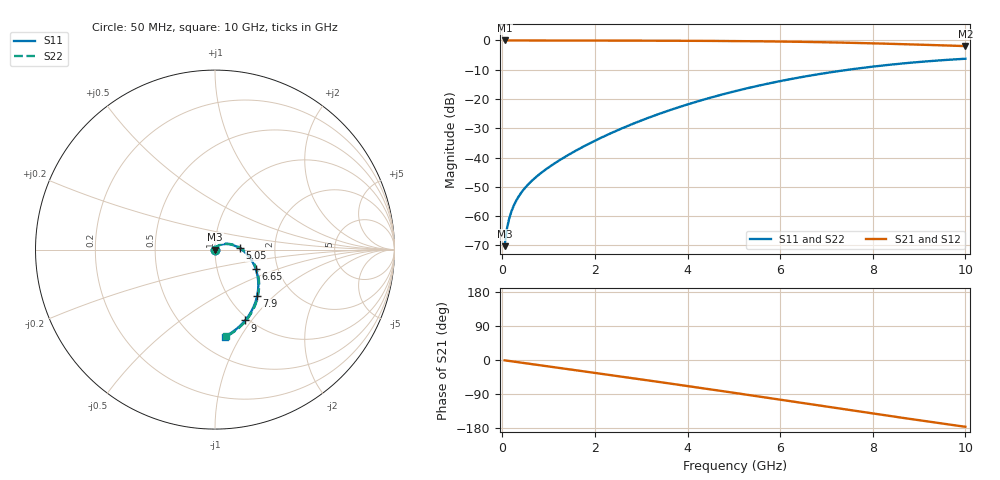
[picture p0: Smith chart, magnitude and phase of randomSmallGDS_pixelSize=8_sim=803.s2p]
! freq	dB(S11)	phase(S11)	dB(S12)	phase(S12)
!  dB(S21)	phase(S21)	dB(S22)	phase(S22)
!S-par simulation data
#  GHz  S  DB  R 50
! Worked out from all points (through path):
!   200 points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, 50 MHz to 10 GHz, reference 50 ohm
!   highest |S21| = 0.00 dB at 50 MHz (marker M1); lowest = -1.9 dB at 10 GHz (marker M2)
!   group delay of S21, straight-line fit = 49.3 ps
!   lowest |S11| = -70.2 dB at 50 MHz (marker M3), VSWR 1.00, Z = 50 + j0.0305 ohm
!   |S11| at or under -10 dB: start of sweep to 7.471 GHz
!   |S22| runs from -70.3 to -6.2 dB; largest |S21 - S12| = 0
!   S11 on the Smith chart (normalised r, x): 50 MHz: 1.00, +0.00; 5.05 GHz: 1.32, +0.02; 6.65 GHz: 1.54, -0.36; 7.9 GHz: 1.34, -0.79; 9 GHz: 0.96, -0.93; 10 GHz: 0.68, -0.86
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0.05  -70.25 82.2  -0.00 -0.9  -0.00 -0.9  -70.25 82.3
0.1  -64.27 84.5  -0.00 -1.7  -0.00 -1.7  -64.27 84.6
0.15  -60.76 84.5  -0.00 -2.6  -0.00 -2.6  -60.76 84.8
0.2  -58.26 84.1  -0.00 -3.4  -0.00 -3.4  -58.26 84.4
0.3  -54.72 82.7  -0.00 -5.1  -0.00 -5.1  -54.72 83.1
0.45  -51.14 80.4  -0.01 -7.7  -0.01 -7.7  -51.14 81.0
0.65  -47.75 77.5  -0.01 -11.1  -0.01 -11.1  -47.74 78.3
0.95  -43.91 73.2  -0.02 -16.2  -0.02 -16.2  -43.91 74.4
1.3  -40.27 68.1  -0.03 -22.1  -0.03 -22.1  -40.26 69.5
1.75  -36.26 61.0  -0.04 -29.8  -0.04 -29.8  -36.24 62.6
2.55  -30.25 47.5  -0.05 -43.5  -0.05 -43.5  -30.23 49.1
3.4  -25.00 32.6  -0.08 -58.2  -0.08 -58.2  -24.99 34.2
4.25  -20.65 17.6  -0.13 -73.1  -0.13 -73.1  -20.64 19.1
5.05  -17.23 3.3  -0.21 -87.4  -0.21 -87.4  -17.22 4.7
5.85  -14.37 -11.1  -0.34 -101.9  -0.34 -101.9  -14.36 -9.7
6.65  -11.99 -25.5  -0.52 -116.5  -0.52 -116.5  -11.98 -24.2
6.7  -11.85 -26.4  -0.54 -117.4  -0.54 -117.4  -11.84 -25.2
7.3  -10.38 -37.2  -0.72 -128.4  -0.72 -128.4  -10.37 -36.0
7.9  -9.13 -47.9  -0.94 -139.3  -0.94 -139.3  -9.12 -46.7
8.35  -8.32 -55.8  -1.13 -147.4  -1.13 -147.4  -8.31 -54.6
9  -7.35 -67.0  -1.43 -158.9  -1.43 -158.9  -7.34 -65.8
10  -6.25 -83.7  -1.92 -176.3  -1.92 -176.3  -6.24 -82.5
